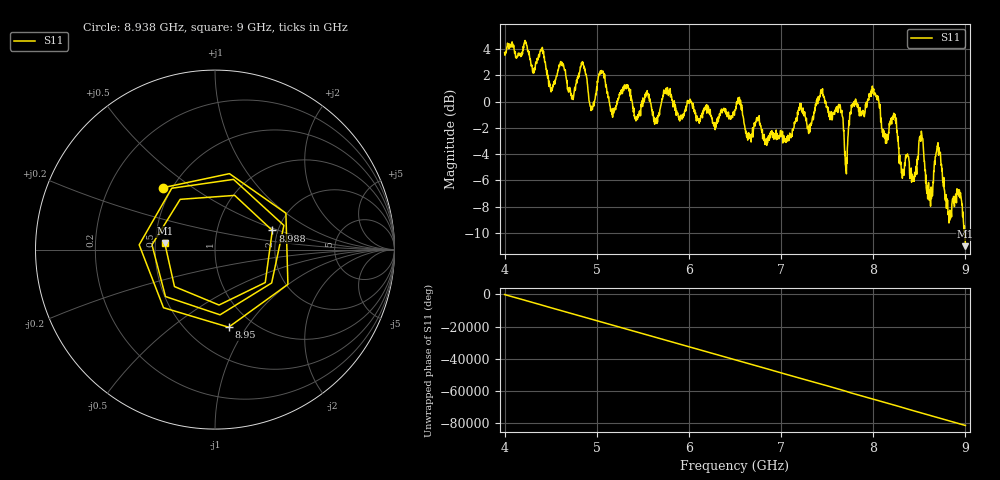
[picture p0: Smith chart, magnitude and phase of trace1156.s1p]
! Created with skrf 1.8.0 (http://scikit-rf.org).
# Hz S RI R 50.0
!freq ReS11 ImS11
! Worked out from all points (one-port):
!   1601 points, 4 GHz to 9 GHz, reference 50 ohm
!   lowest |S11| = -11.0 dB at 9 GHz (marker M1), VSWR 1.79, Z = 28.1 + j2.14 ohm
!   |S11| at or under -10 dB: 8.993187 GHz to end of sweep
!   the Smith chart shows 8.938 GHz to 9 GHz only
!   S11 on the Smith chart (normalised r, x): 8.938 GHz: 0.44, +0.39; 8.95 GHz: 0.78, -0.83; 8.988 GHz: 1.87, +0.45; 9 GHz: 0.56, +0.04
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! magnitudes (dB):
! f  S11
! 4 GHz  3.7
! 4.406 GHz  4.0
! 4.503 GHz  0.8
! 4.625 GHz  2.8
! 4.734 GHz  0.3
! 4.85 GHz  3.0
! 4.944 GHz  -0.6
! 5.047 GHz  2.2
! 5.166 GHz  -1.0
! 5.25 GHz  0.7
! 5.875 GHz  -0.9
! 6.5 GHz  -0.7
! 7.125 GHz  -2.1
! 7.444 GHz  0.6
! 7.647 GHz  -0.8
! 7.703 GHz  -5.2
! 7.75 GHz  -0.8
! 8.006 GHz  1.0
! 8.375 GHz  -4.1
! 8.441 GHz  -5.8
! 8.519 GHz  -2.5
! 8.6 GHz  -6.2
! 8.706 GHz  -3.4
! 8.825 GHz  -8.8
! 8.938 GHz  -6.9
! 8.95 GHz  -7.2
! 8.988 GHz  -9.5
! 9 GHz  -11.0
